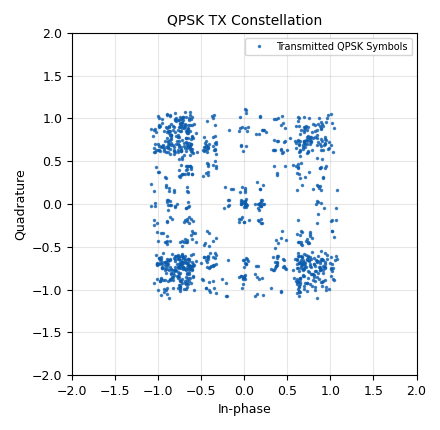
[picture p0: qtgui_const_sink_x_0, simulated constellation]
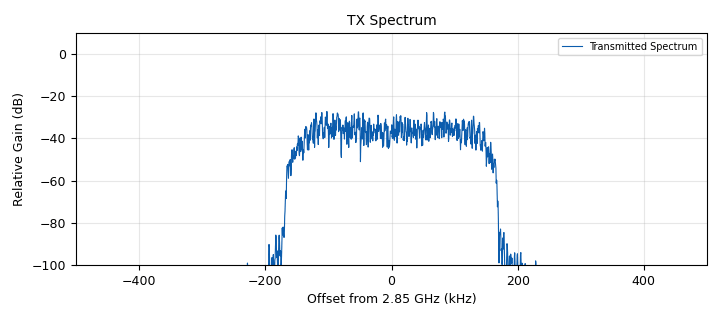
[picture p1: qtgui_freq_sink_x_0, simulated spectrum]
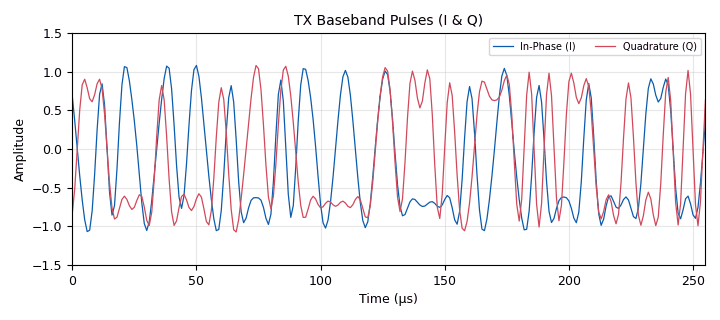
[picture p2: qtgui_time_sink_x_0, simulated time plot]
options:
  parameters:
    author: pranav
    category: Custom
    description: QPSK Hardware BER Transmitter using USRP B210
    generate_options: qt_gui
    id: tx_qpsk_hardware_ber
    output_language: python
    title: QPSK Hardware BER Transmitter
  states: {}

blocks:
- name: center_freq
  id: variable
  parameters:
    comment: Carrier frequency (2.85 GHz)
    value: '2850000000'
  states: {}
- name: excess_bw
  id: variable
  parameters:
    comment: RRC excess bandwidth / roll-off factor
    value: '0.35'
  states: {}
- name: qpsk
  id: variable_constellation_rect
  parameters:
    comment: QPSK Gray Coded Constellation
    const_points: '[-0.707-0.707j, 0.707-0.707j, +0.707+0.707j, -0.707+0.707j]'
    imag_sect: '2'
    real_sect: '2'
    rot_sym: '4'
    sym_map: '[0, 1, 3, 2]'
    w_imag_sect: '1'
    w_real_sect: '1'
  states: {}
- name: samp_rate
  id: variable
  parameters:
    comment: Baseband sample rate (1.0 MSps)
    value: '1000000'
  states: {}
- name: sps
  id: variable
  parameters:
    comment: Samples per symbol
    value: '4'
  states: {}
- name: tx_gain
  id: variable_qtgui_range
  parameters:
    comment: Transmitter RF Gain slider
    gui_hint: 0,0,1,1
    label: TX Gain (dB)
    start: '0'
    step: '1'
    stop: '89.8'
    value: '33'
  states: {}
- name: analog_random_source_x_0
  id: analog_random_source_x
  parameters:
    comment: Trigger source driving the frame generator
    max: '256'
    min: '0'
    num_samps: '10000'
    repeat: 'True'
    type: byte
  states: {}
- name: digital_constellation_modulator_0
  id: digital_constellation_modulator
  parameters:
    comment: QPSK Differential Modulator with RRC Pulse Shaping Filter
    constellation: qpsk
    differential: 'True'
    excess_bw: excess_bw
    samples_per_symbol: sps
  states: {}
- name: epy_block_0
  id: epy_block
  parameters:
    _source_code: |
      import numpy as np
      from gnuradio import gr

      class blk(gr.basic_block):
          """BER Frame Generator & Preamble Inserter for QPSK"""
          def __init__(self, packet_len=1000):
              gr.basic_block.__init__(
                  self,
                  name='QPSK BER Frame Generator',
                  in_sig=[np.uint8],
                  out_sig=[np.uint8]
              )
              self.packet_len = packet_len
              # 32-bit QPSK sync word preamble
              self.preamble = np.array([
                  1, 1, 1, 1, 1, 0, 0, 1,
                  1, 0, 1, 0, 1, 1, 1, 1,
                  1, 1, 0, 0, 1, 1, 0, 1,
                  0, 1, 1, 0, 0, 1, 0, 1
              ], dtype=np.uint8)
              np.random.seed(42)
              # 968-bit pseudo-random binary payload
              self.payload_ref = np.random.randint(0, 2, size=968, dtype=np.uint8)
              
              # Full frame: 32 + 968 = 1000 bits
              self.packet = np.concatenate([self.preamble, self.payload_ref])
              
              # Pack 8 bits into 1 byte (MSB-first) -> 125 bytes per frame
              n_bytes = len(self.packet) // 8
              self.packed_packet = np.zeros(n_bytes, dtype=np.uint8)
              for i in range(n_bytes):
                  byte_val = 0
                  for b in range(8):
                      byte_val = (byte_val << 1) | (int(self.packet[8*i + b]) & 1)
                  self.packed_packet[i] = byte_val
                  
              self.ptr = 0

          def general_work(self, input_items, output_items):
              in0 = input_items[0]
              out = output_items[0]
              n_out = len(out)
              written = 0
              read = min(len(in0), n_out)
              
              while written < read:
                  rem = len(self.packed_packet) - self.ptr
                  to_write = min(rem, read - written)
                  out[written:written+to_write] = self.packed_packet[self.ptr:self.ptr+to_write]
                  self.ptr = (self.ptr + to_write) % len(self.packed_packet)
                  written += to_write
                  
              self.consume(0, read)
              return written
    comment: Frame Generator (32-bit Preamble + 968-bit PRBS-42 Payload, Packed into 125 Bytes)
    packet_len: '1000'
  states: {}
- name: qtgui_const_sink_x_0
  id: qtgui_const_sink_x
  parameters:
    comment: Visualizes transmitted QPSK constellation
    grid: 'True'
    gui_hint: 1,0,1,1
    label1: '"Transmitted QPSK Symbols"'
    name: '"QPSK TX Constellation"'
    size: '1024'
    type: complex
  states: {}
- name: qtgui_freq_sink_x_0
  id: qtgui_freq_sink_x
  parameters:
    average: '0.1'
    bw: samp_rate
    comment: Visualizes transmitted RF spectrum
    fc: center_freq
    fftsize: '2048'
    grid: 'True'
    gui_hint: 1,1,1,1
    label1: '"Transmitted Spectrum"'
    name: '"TX Spectrum"'
    type: complex
    ymin: '-100'
  states: {}
- name: qtgui_time_sink_x_0
  id: qtgui_time_sink_x
  parameters:
    comment: Visualizes shaped baseband I/Q pulses
    grid: 'True'
    gui_hint: 2,0,1,2
    label1: '"In-Phase (I)"'
    label2: '"Quadrature (Q)"'
    name: '"TX Baseband Pulses (I & Q)"'
    size: '256'
    srate: samp_rate
    type: complex
    ymax: '1.5'
    ymin: '-1.5'
  states: {}
- name: uhd_usrp_sink_0
  id: uhd_usrp_sink
  parameters:
    ant0: '"TX/RX"'
    center_freq0: center_freq
    comment: USRP B210 Hardware Transmitter Sink
    gain0: tx_gain
    samp_rate: samp_rate
    sync: pc_clock
    type: fc32
  states: {}

connections:
- [analog_random_source_x_0, '0', epy_block_0, '0']
- [digital_constellation_modulator_0, '0', qtgui_const_sink_x_0, '0']
- [digital_constellation_modulator_0, '0', qtgui_freq_sink_x_0, '0']
- [digital_constellation_modulator_0, '0', qtgui_time_sink_x_0, '0']
- [digital_constellation_modulator_0, '0', uhd_usrp_sink_0, '0']
- [epy_block_0, '0', digital_constellation_modulator_0, '0']

metadata:
  file_format: 1
  grc_version: 3.10.12.0
